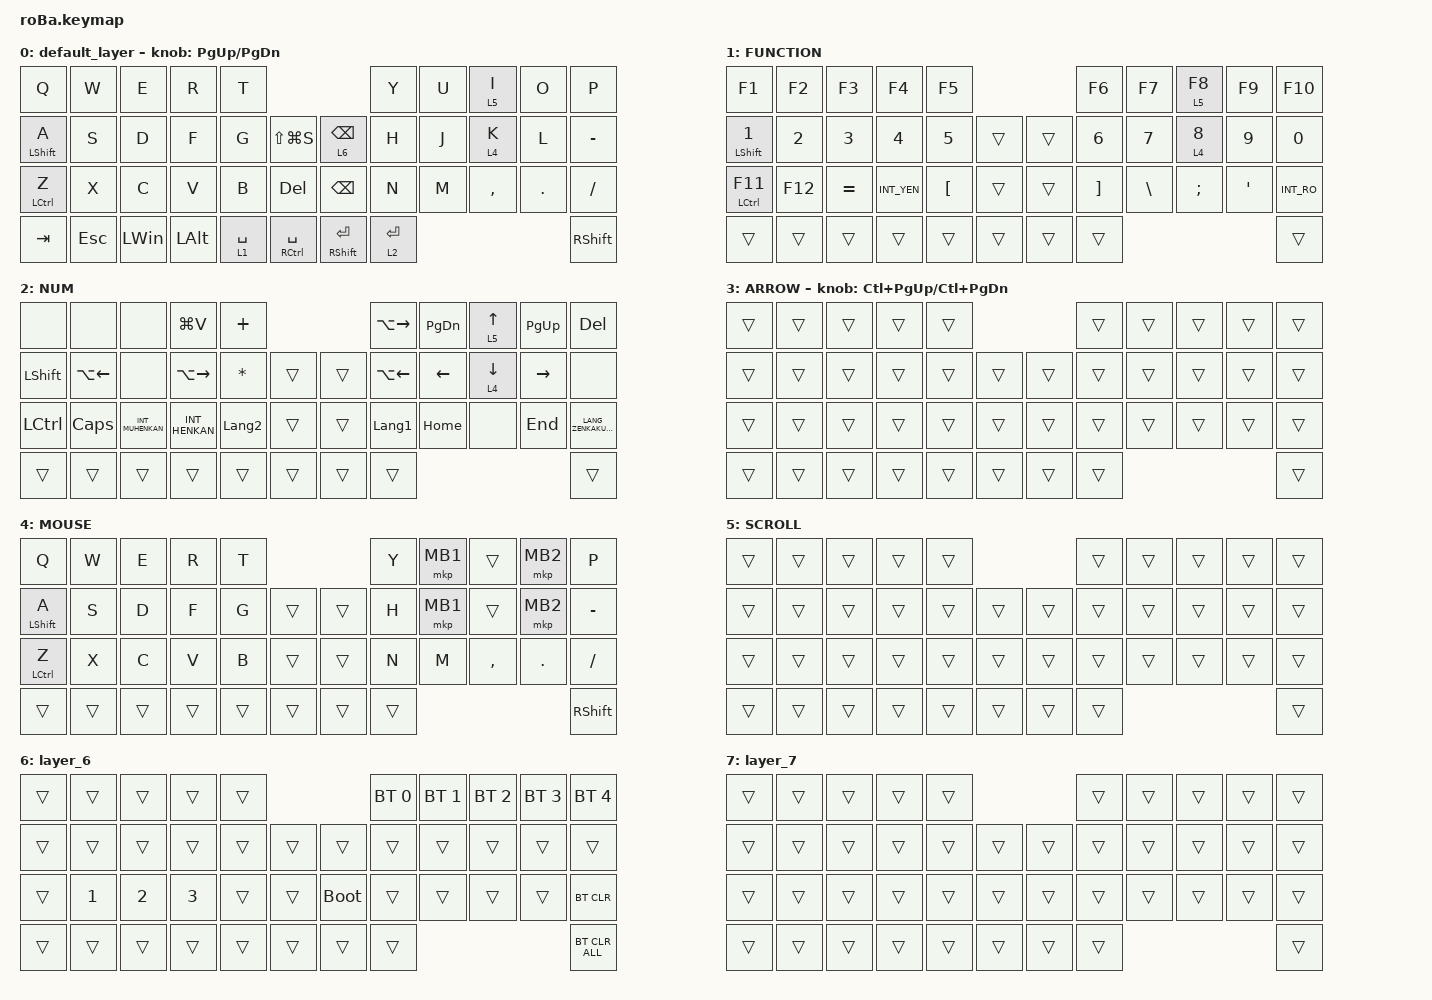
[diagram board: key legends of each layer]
#include <behaviors.dtsi>
#include <dt-bindings/zmk/bt.h>
#include <dt-bindings/zmk/keys.h>
#include <dt-bindings/zmk/pointing.h>

#define MOUSE 4
#define SCROLL 5
#define NUM 6

&mt {
    flavor = "balanced";
    quick-tap-ms = <0>;
};

/ {
    combos {
        compatible = "zmk,combos";

        tab {
            bindings = <&kp TAB>;
            key-positions = <11 12>;
        };

        shift_tab {
            bindings = <&kp LS(TAB)>;
            key-positions = <12 13>;
        };

        muhennkann {
            bindings = <&to_layer_0 INT_MUHENKAN>;
            key-positions = <11 10>;
        };

        double_quotation {
            bindings = <&kp DOUBLE_QUOTES>;
            key-positions = <20 21>;
        };

        eq {
            bindings = <&kp EQUAL>;
            key-positions = <24 25>;
        };
    };

    macros {
        to_layer_0: to_layer_0 {
            compatible = "zmk,behavior-macro-one-param";
            #binding-cells = <1>;
            bindings = <&to 0 &macro_param_1to1 &kp MACRO_PLACEHOLDER>;
            label = "TO_LAYER_0";
        };

        ret_kp: ret_kp {
            compatible = "zmk,behavior-macro-one-param";
            #binding-cells = <1>;
            bindings =
                <&to 0 &macro_param_1to1>,
                <&macro_press>,
                <&kp MACRO_PLACEHOLDER>,
                <&macro_pause_for_release>,
                <&macro_param_1to1>,
                <&macro_release>,
                <&kp MACRO_PLACEHOLDER>;

            label = "RET_KP";
        };
    };

    behaviors {
        lt_to_layer_0: lt_to_layer_0 {
            compatible = "zmk,behavior-hold-tap";
            label = "LAYER_TAP_TO_0";
            bindings = <&mo>, <&to_layer_0>;

            #binding-cells = <2>;
            tapping-term-ms = <200>;
        };
    };

    keymap {
        compatible = "zmk,keymap";

        default_layer {
            bindings = <
&kp Q             &kp W    &kp E         &kp R         &kp T                                                         &kp Y        &kp U  &lt 5 I    &kp O    &kp P
&mt LEFT_SHIFT A  &kp S    &kp D         &kp F         &kp G        &kp LS(LG(S))        &lt_to_layer_0 6 BACKSPACE  &kp H        &kp J  &lt 4 K    &kp L    &kp MINUS
&mt LCTRL Z       &kp X    &kp C         &kp V         &kp B        &kp DEL              &kp BACKSPACE               &kp N        &kp M  &kp COMMA  &kp DOT  &kp SLASH
&kp TAB           &kp ESC  &kp LEFT_WIN  &kp LEFT_ALT  &lt 1 SPACE  &mt RCTRL SPACE      &mt RIGHT_SHIFT ENTER       &lt 2 ENTER                             &kp RIGHT_SHIFT
            >;

            sensor-bindings = <&inc_dec_kp PG_UP PAGE_DOWN>;
        };

        FUNCTION {
            bindings = <
&kp F1                   &kp F2        &kp F3        &kp F4        &kp F5                                &kp F6             &kp F7         &lt 5 F8  &kp F9            &kp F10
&mt LEFT_SHIFT NUMBER_1  &kp NUMBER_2  &kp NUMBER_3  &kp NUMBER_4  &kp NUMBER_5      &trans      &trans  &kp NUMBER_6       &kp NUMBER_7   &lt 4 N8  &kp N9            &kp N0
&mt LCTRL F11            &kp F12       &kp EQUAL     &kp INT_YEN   &kp LEFT_BRACKET  &trans      &trans  &kp RIGHT_BRACKET  &kp BACKSLASH  &kp SEMI  &kp SINGLE_QUOTE  &kp INT_RO
&trans                   &trans        &trans        &trans        &trans            &trans      &trans  &trans                                                        &trans
            >;
        };

        NUM {
            bindings = <
&none           &none               &none             &kp LG(V)       &kp PLUS                            &kp LA(RIGHT)   &kp PAGE_DOWN   &lt 5 UP_ARROW    &kp PAGE_UP  &kp DEL
&kp LEFT_SHIFT  &kp LA(LEFT_ARROW)  &none             &kp LA(RIGHT)   &kp ASTERISK    &trans      &trans  &kp LA(LEFT)    &kp LEFT_ARROW  &lt 4 DOWN_ARROW  &kp RIGHT    &none
&kp LCTRL       &kp CAPS            &kp INT_MUHENKAN  &kp INT_HENKAN  &kp LANGUAGE_2  &trans      &trans  &kp LANGUAGE_1  &kp HOME        &none             &kp END      &kp LANG_ZENKAKUHANKAKU
&trans          &trans              &trans            &trans          &trans          &trans      &trans  &trans                                                         &trans
            >;
        };

        ARROW {
            bindings = <
&trans  &trans  &trans  &trans  &trans                      &trans  &trans  &trans  &trans  &trans
&trans  &trans  &trans  &trans  &trans  &trans      &trans  &trans  &trans  &trans  &trans  &trans
&trans  &trans  &trans  &trans  &trans  &trans      &trans  &trans  &trans  &trans  &trans  &trans
&trans  &trans  &trans  &trans  &trans  &trans      &trans  &trans                          &trans
            >;

            sensor-bindings = <&inc_dec_kp LC(PAGE_UP) LC(PAGE_DOWN)>;
        };

        MOUSE {
            bindings = <
&kp Q             &kp W   &kp E   &kp R   &kp T                       &kp Y   &mkp MB1  &trans     &mkp MB2    &kp P
&mt LEFT_SHIFT A  &kp S   &kp D   &kp F   &kp G   &trans      &trans  &kp H   &mkp MB1  &trans     &mkp MB2    &kp MINUS
&mt LCTRL Z       &kp X   &kp C   &kp V   &kp B   &trans      &trans  &kp N   &kp M     &kp COMMA  &kp PERIOD  &kp SLASH
&trans            &trans  &trans  &trans  &trans  &trans      &trans  &trans                                   &kp RIGHT_SHIFT
            >;
        };

        SCROLL {
            bindings = <
&trans  &trans  &trans  &trans  &trans                      &trans  &trans  &trans  &trans  &trans
&trans  &trans  &trans  &trans  &trans  &trans      &trans  &trans  &trans  &trans  &trans  &trans
&trans  &trans  &trans  &trans  &trans  &trans      &trans  &trans  &trans  &trans  &trans  &trans
&trans  &trans  &trans  &trans  &trans  &trans      &trans  &trans                          &trans
            >;
        };

        layer_6 {
            bindings = <
&trans  &trans        &trans        &trans        &trans                           &bt BT_SEL 0  &bt BT_SEL 1  &bt BT_SEL 2  &bt BT_SEL 3  &bt BT_SEL 4
&trans  &trans        &trans        &trans        &trans  &trans      &trans       &trans        &trans        &trans        &trans        &trans
&trans  &kp NUMBER_1  &kp NUMBER_2  &kp NUMBER_3  &trans  &trans      &bootloader  &trans        &trans        &trans        &trans        &bt BT_CLR
&trans  &trans        &trans        &trans        &trans  &trans      &trans       &trans                                                  &bt BT_CLR_ALL
            >;
        };

        layer_7 {
            bindings = <
&trans  &trans  &trans  &trans  &trans                      &trans  &trans  &trans  &trans  &trans
&trans  &trans  &trans  &trans  &trans  &trans      &trans  &trans  &trans  &trans  &trans  &trans
&trans  &trans  &trans  &trans  &trans  &trans      &trans  &trans  &trans  &trans  &trans  &trans
&trans  &trans  &trans  &trans  &trans  &trans      &trans  &trans                          &trans
            >;
        };
    };
};
